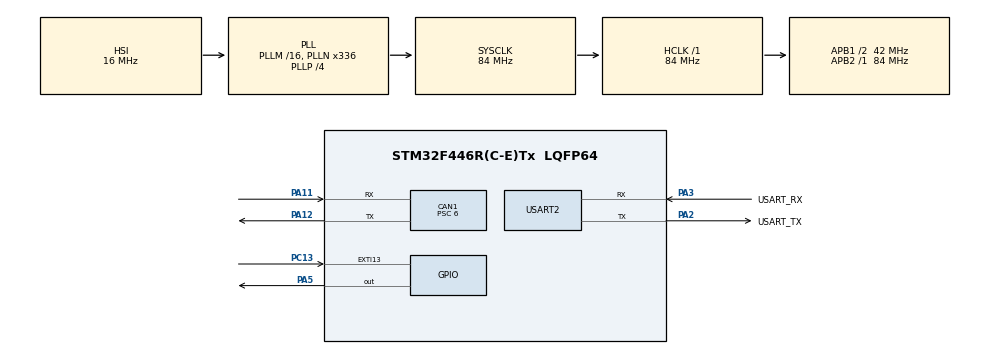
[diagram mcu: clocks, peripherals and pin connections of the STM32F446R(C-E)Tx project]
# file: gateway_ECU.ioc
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CAN1.BS1=CAN_BS1_11TQ
CAN1.BS2=CAN_BS2_2TQ
CAN1.CalculateBaudRate=500000
CAN1.CalculateTimeBit=2000
CAN1.CalculateTimeQuantum=142.85714285714286
CAN1.Mode=CAN_MODE_NORMAL
CAN1.NART=ENABLE
CAN1.Prescaler=6
FREERTOS.Queues01=canRxQueue,16,CanRxMessage_t,0,Dynamic,NULL,NULL
FREERTOS.Tasks01=defaultTask,24,256,StartDefaultTask,Default,NULL,Dynamic,NULL,NULL
Mcu.Family=STM32F4
Mcu.Name=STM32F446R(C-E)Tx
Mcu.Package=LQFP64
NUCLEO-F446RE.BUTTON=1
NUCLEO-F446RE.LD1=true
NVIC.CAN1_RX0_IRQn=true\:5\:0\:false\:false\:true\:true\:true\:true\:true
NVIC.EXTI15_10_IRQn=true\:5\:0\:false\:false\:true\:true\:false\:true\:true
NVIC.PriorityGroup=NVIC_PRIORITYGROUP_4
NVIC.TIM6_DAC_IRQn=true\:15\:0\:false\:false\:true\:false\:false\:true\:true
NVIC.TimeBase=TIM6_DAC_IRQn
NVIC.TimeBaseIP=TIM6
PA11.Mode=CAN_Activate
PA11.Signal=CAN1_RX
PA12.Mode=CAN_Activate
PA12.Signal=CAN1_TX
PA13.GPIO_Label=TMS
PA13.Signal=SYS_JTMS-SWDIO
PA14.GPIO_Label=TCK
PA14.Signal=SYS_JTCK-SWCLK
PA2.GPIO_Label=USART_TX
PA2.Mode=Asynchronous
PA2.Signal=USART2_TX
PA3.GPIO_Label=USART_RX
PA3.Mode=Asynchronous
PA3.Signal=USART2_RX
PA5.Signal=GPIO_Output
PB3.GPIO_Label=SWO
PB3.Signal=SYS_JTDO-SWO
PC13.Signal=GPXTI13
PC14-OSC32_IN.Signal=RCC_OSC32_IN
PC15-OSC32_OUT.Signal=RCC_OSC32_OUT
PH0-OSC_IN.Signal=RCC_OSC_IN
PH1-OSC_OUT.Signal=RCC_OSC_OUT
ProjectManager.HeapSize=0x200
ProjectManager.StackSize=0x400
ProjectManager.TargetToolchain=STM32CubeIDE
RCC.AHBFreq_Value=84000000
RCC.APB1CLKDivider=RCC_HCLK_DIV2
RCC.APB1Freq_Value=42000000
RCC.APB1TimFreq_Value=84000000
RCC.APB2Freq_Value=84000000
RCC.APB2TimFreq_Value=84000000
RCC.CortexFreq_Value=84000000
RCC.FLatency-AdvancedSettings=FLASH_LATENCY_2
RCC.HCLKFreq_Value=84000000
RCC.HSE_VALUE=8000000
RCC.HSI_VALUE=16000000
RCC.LSE_VALUE=32768
RCC.PLLN=336
RCC.PLLP=RCC_PLLP_DIV4
RCC.SYSCLKFreq_VALUE=84000000
RCC.SYSCLKSource=RCC_SYSCLKSOURCE_PLLCLK
RCC.USBFreq_Value=168000000
RCC.VCOOutputFreq_Value=336000000
USART2.VirtualMode=VM_ASYNC
VP_FREERTOS_VS_CMSIS_V2.Mode=CMSIS_V2
VP_NUCLEO-F446RE_VS_BSP_COMMON.Mode=COMMON
VP_SYS_VS_tim6.Mode=TIM6
board=NUCLEO-F446RE

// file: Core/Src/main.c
/* USER CODE BEGIN Header */
/**
  ******************************************************************************
  * @file           : main.c
  * @brief          : Main program body
  ******************************************************************************
  * @attention
  *
  * Copyright (c) 2026 STMicroelectronics.
  * All rights reserved.
  *
  * This software is licensed under terms that can be found in the LICENSE file
  * in the root directory of this software component.
  * If no LICENSE file comes with this software, it is provided AS-IS.
  *
  ******************************************************************************
  */
/* USER CODE END Header */
#include "main.h"
#include "cmsis_os.h"

/* USER CODE BEGIN Includes */
#include <stdio.h>

/* USER CODE END Includes */

CAN_HandleTypeDef hcan1;

UART_HandleTypeDef huart2;

/* Definitions for defaultTask */
osThreadId_t defaultTaskHandle;
const osThreadAttr_t defaultTask_attributes = {
  .name = "defaultTask",
  .stack_size = 256 * 4,
  .priority = (osPriority_t) osPriorityNormal,
};
/* Definitions for canRxQueue */
osMessageQueueId_t canRxQueueHandle;
const osMessageQueueAttr_t canRxQueue_attributes = {
  .name = "canRxQueue"
};
/* USER CODE BEGIN PV */
static uint8_t gatewayAliveCounter;

/* USER CODE END PV */

void SystemClock_Config(void);
static void MX_GPIO_Init(void);
static void MX_USART2_UART_Init(void);
static void MX_CAN1_Init(void);
void StartDefaultTask(void *argument);

/* USER CODE BEGIN PFP */
static void ProcessCanMessage(const CanRxMessage_t *message);
static void CanMonitorInit(void);
static void MonitorCanMessage(const CanRxMessage_t *message);
static void CheckCanTimeouts(void);
static HAL_StatusTypeDef CanTransmitStandardFrame(uint16_t id,
                                                  uint8_t *data,
                                                  uint8_t dlc);
static void TransmitGatewayStatus(void);
static void TransmitFaultStatus(uint8_t faultCode,
                                uint8_t ecuOffline,
                                uint8_t recoveryState,
                                uint8_t systemState);

/* USER CODE END PFP */

int main(void)
{

  /* MCU Configuration--------------------------------------------------------*/

  /* Reset of all peripherals, Initializes the Flash interface and the Systick. */
  HAL_Init();

  /* Configure the system clock */
  SystemClock_Config();

  /* Initialize all configured peripherals */
  MX_GPIO_Init();
  MX_USART2_UART_Init();
  MX_CAN1_Init();
  /* USER CODE BEGIN 2 */
  CAN_FilterTypeDef canFilter = {0};

  canFilter.FilterBank = 0;
  canFilter.FilterMode = CAN_FILTERMODE_IDMASK;
  canFilter.FilterScale = CAN_FILTERSCALE_32BIT;
  canFilter.FilterIdHigh = 0x0000;
  canFilter.FilterIdLow = 0x0000;
  canFilter.FilterMaskIdHigh = 0x0000;
  canFilter.FilterMaskIdLow = 0x0000;
  canFilter.FilterFIFOAssignment = CAN_RX_FIFO0;
  canFilter.FilterActivation = ENABLE;
  canFilter.SlaveStartFilterBank = 14;

  if (HAL_CAN_ConfigFilter(&hcan1, &canFilter) != HAL_OK)
  {
    Error_Handler();
  }

  /* USER CODE END 2 */

  /* Init scheduler */
  osKernelInitialize();

  /* Create the queue(s) */
  /* creation of canRxQueue */
  canRxQueueHandle = osMessageQueueNew (16, sizeof(CanRxMessage_t), &canRxQueue_attributes);

  /* USER CODE BEGIN RTOS_QUEUES */
  if (canRxQueueHandle == NULL)
  {
    Error_Handler();
  }

  if (HAL_CAN_Start(&hcan1) != HAL_OK)
  {
    Error_Handler();
  }

  if (HAL_CAN_ActivateNotification(
          &hcan1,
          CAN_IT_RX_FIFO0_MSG_PENDING) != HAL_OK)
  {
    Error_Handler();
  }

  /* USER CODE END RTOS_QUEUES */

  /* Create the thread(s) */
  /* creation of defaultTask */
  defaultTaskHandle = osThreadNew(StartDefaultTask, NULL, &defaultTask_attributes);

  /* Initialize leds */
  BSP_LED_Init(LED2);

  /* Initialize USER push-button, will be used to trigger an interrupt each time it's pressed.*/
  BSP_PB_Init(BUTTON_USER, BUTTON_MODE_EXTI);

  /* Start scheduler */
  osKernelStart();

  /* We should never get here as control is now taken by the scheduler */

  /* Infinite loop */
  while (1)
  {

  }
}

void SystemClock_Config(void)
{
  RCC_OscInitTypeDef RCC_OscInitStruct = {0};
  RCC_ClkInitTypeDef RCC_ClkInitStruct = {0};

  /** Configure the main internal regulator output voltage
  */
  __HAL_RCC_PWR_CLK_ENABLE();
  __HAL_PWR_VOLTAGESCALING_CONFIG(PWR_REGULATOR_VOLTAGE_SCALE3);

  /** Initializes the RCC Oscillators according to the specified parameters
  * in the RCC_OscInitTypeDef structure.
  */
  RCC_OscInitStruct.OscillatorType = RCC_OSCILLATORTYPE_HSI;
  RCC_OscInitStruct.HSIState = RCC_HSI_ON;
  RCC_OscInitStruct.HSICalibrationValue = RCC_HSICALIBRATION_DEFAULT;
  RCC_OscInitStruct.PLL.PLLState = RCC_PLL_ON;
  RCC_OscInitStruct.PLL.PLLSource = RCC_PLLSOURCE_HSI;
  RCC_OscInitStruct.PLL.PLLM = 16;
  RCC_OscInitStruct.PLL.PLLN = 336;
  RCC_OscInitStruct.PLL.PLLP = RCC_PLLP_DIV4;
  RCC_OscInitStruct.PLL.PLLQ = 2;
  RCC_OscInitStruct.PLL.PLLR = 2;
  if (HAL_RCC_OscConfig(&RCC_OscInitStruct) != HAL_OK)
  {
    Error_Handler();
  }

  /** Initializes the CPU, AHB and APB buses clocks
  */
  RCC_ClkInitStruct.ClockType = RCC_CLOCKTYPE_HCLK|RCC_CLOCKTYPE_SYSCLK
                              |RCC_CLOCKTYPE_PCLK1|RCC_CLOCKTYPE_PCLK2;
  RCC_ClkInitStruct.SYSCLKSource = RCC_SYSCLKSOURCE_PLLCLK;
  RCC_ClkInitStruct.AHBCLKDivider = RCC_SYSCLK_DIV1;
  RCC_ClkInitStruct.APB1CLKDivider = RCC_HCLK_DIV2;
  RCC_ClkInitStruct.APB2CLKDivider = RCC_HCLK_DIV1;

  if (HAL_RCC_ClockConfig(&RCC_ClkInitStruct, FLASH_LATENCY_2) != HAL_OK)
  {
    Error_Handler();
  }
}

static void MX_CAN1_Init(void)
{

  hcan1.Instance = CAN1;
  hcan1.Init.Prescaler = 6;
  hcan1.Init.Mode = CAN_MODE_NORMAL;
  hcan1.Init.SyncJumpWidth = CAN_SJW_1TQ;
  hcan1.Init.TimeSeg1 = CAN_BS1_11TQ;
  hcan1.Init.TimeSeg2 = CAN_BS2_2TQ;
  hcan1.Init.TimeTriggeredMode = DISABLE;
  hcan1.Init.AutoBusOff = DISABLE;
  hcan1.Init.AutoWakeUp = DISABLE;
  hcan1.Init.AutoRetransmission = ENABLE;
  hcan1.Init.ReceiveFifoLocked = DISABLE;
  hcan1.Init.TransmitFifoPriority = DISABLE;
  if (HAL_CAN_Init(&hcan1) != HAL_OK)
  {
    Error_Handler();
  }

}

static void MX_USART2_UART_Init(void)
{

  huart2.Instance = USART2;
  huart2.Init.BaudRate = 115200;
  huart2.Init.WordLength = UART_WORDLENGTH_8B;
  huart2.Init.StopBits = UART_STOPBITS_1;
  huart2.Init.Parity = UART_PARITY_NONE;
  huart2.Init.Mode = UART_MODE_TX_RX;
  huart2.Init.HwFlowCtl = UART_HWCONTROL_NONE;
  huart2.Init.OverSampling = UART_OVERSAMPLING_16;
  if (HAL_UART_Init(&huart2) != HAL_OK)
  {
    Error_Handler();
  }

}

static void MX_GPIO_Init(void)
{

  /* GPIO Ports Clock Enable */
  __HAL_RCC_GPIOC_CLK_ENABLE();
  __HAL_RCC_GPIOH_CLK_ENABLE();
  __HAL_RCC_GPIOA_CLK_ENABLE();
  __HAL_RCC_GPIOB_CLK_ENABLE();

}

/* USER CODE BEGIN 4 */
static uint16_t ReadLe16(const uint8_t *data, uint8_t offset)
{
  return (uint16_t)data[offset]
       | ((uint16_t)data[offset + 1U] << 8U);
}

static void SendUartText(char *text, uint16_t textSize, int textLength)
{
  if ((text == NULL) || (textSize == 0U) || (textLength <= 0))
  {
    return;
  }

  if (textLength >= (int)textSize)
  {
    textLength = (int)textSize - 1;
  }

  HAL_UART_Transmit(&huart2,
                    (uint8_t *)text,
                    (uint16_t)textLength,
                    100U);
}

static HAL_StatusTypeDef CanTransmitStandardFrame(uint16_t id,
                                                  uint8_t *data,
                                                  uint8_t dlc)
{
  CAN_TxHeaderTypeDef txHeader = {0};
  uint32_t txMailbox;

  if ((data == NULL) || (id > 0x7FFU) || (dlc > DBC_CAN_FRAME_DLC))
  {
    return HAL_ERROR;
  }

  txHeader.StdId = id;
  txHeader.ExtId = 0U;
  txHeader.IDE = CAN_ID_STD;
  txHeader.RTR = CAN_RTR_DATA;
  txHeader.DLC = dlc;
  txHeader.TransmitGlobalTime = DISABLE;

  return HAL_CAN_AddTxMessage(&hcan1, &txHeader, data, &txMailbox);
}

static uint8_t GetCanQueueUsagePercent(void)
{
  uint32_t queueCapacity;
  uint32_t queueCount;

  if (canRxQueueHandle == NULL)
  {
    return 0U;
  }

  queueCapacity = osMessageQueueGetCapacity(canRxQueueHandle);
  queueCount = osMessageQueueGetCount(canRxQueueHandle);

  if (queueCapacity == 0U)
  {
    return 0U;
  }

  if (queueCount >= queueCapacity)
  {
    return 100U;
  }

  return (uint8_t)((queueCount * 100U) / queueCapacity);
}

static void TransmitGatewayStatus(void)
{
  uint8_t txData[DBC_CAN_FRAME_DLC] = {0};

  txData[0] = (uint8_t)(gatewayAliveCounter & 0x0FU);
  txData[1] = GetCanQueueUsagePercent();

  if (CanTransmitStandardFrame(DBC_CAN_ID_GATEWAY_STATUS,
                               txData,
                               DBC_CAN_FRAME_DLC) == HAL_OK)
  {
    gatewayAliveCounter = (uint8_t)((gatewayAliveCounter + 1U) & 0x0FU);
  }
}

static void TransmitFaultStatus(uint8_t faultCode,
                                uint8_t ecuOffline,
                                uint8_t recoveryState,
                                uint8_t systemState)
{
  uint8_t txData[DBC_CAN_FRAME_DLC] = {0};

  txData[0] = faultCode;
  txData[1] = (uint8_t)((ecuOffline & 0x0FU)
                      | ((recoveryState & 0x01U) << 4U)
                      | ((systemState & 0x03U) << 5U));

  (void)CanTransmitStandardFrame(DBC_CAN_ID_FAULT_STATUS,
                                 txData,
                                 DBC_CAN_FRAME_DLC);
}

typedef struct
{
  uint8_t have_frame;
  uint8_t last_alive;
  uint8_t alive_error;
  uint8_t timeout_reported;
  uint8_t timeout_fault_code;
  uint8_t ecu_offline;
  uint32_t last_rx_tick;
} CanMonitorState_t;

static CanMonitorState_t vcuMonitorState;
static CanMonitorState_t motorMonitorState;
static uint32_t canMonitorStartTick;

static void CanMonitorInit(void)
{
  vcuMonitorState.have_frame = 0U;
  vcuMonitorState.last_alive = 0U;
  vcuMonitorState.alive_error = 0U;
  vcuMonitorState.timeout_reported = 0U;
  vcuMonitorState.timeout_fault_code = DBC_FAULT_CODE_VCU_TIMEOUT;
  vcuMonitorState.ecu_offline = DBC_FAULT_ECU_VCU;
  vcuMonitorState.last_rx_tick = 0U;

  motorMonitorState.have_frame = 0U;
  motorMonitorState.last_alive = 0U;
  motorMonitorState.alive_error = 0U;
  motorMonitorState.timeout_reported = 0U;
  motorMonitorState.timeout_fault_code = DBC_FAULT_CODE_ECU_OFFLINE;
  motorMonitorState.ecu_offline = DBC_FAULT_ECU_MOTOR;
  motorMonitorState.last_rx_tick = 0U;

  canMonitorStartTick = HAL_GetTick();
}

static void MonitorAliveCounter(const char *sourceName,
                                CanMonitorState_t *state,
                                uint8_t aliveCounter,
                                uint32_t now)
{
  char text[112];
  int textLength;

  if (!state->have_frame)
  {
    state->have_frame = 1U;
    state->last_alive = aliveCounter;
    state->last_rx_tick = now;
    state->alive_error = 0U;

    textLength = snprintf(text,
                          sizeof(text),
                          "CAN_MONITOR %s ONLINE Alive=%u\r\n",
                          sourceName,
                          (unsigned int)aliveCounter);
    SendUartText(text, (uint16_t)sizeof(text), textLength);

    if (state->timeout_reported != 0U)
    {
      TransmitFaultStatus(state->timeout_fault_code,
                          state->ecu_offline,
                          DBC_FAULT_RECOVERY_CLEARED,
                          DBC_SYSTEM_STATE_DEGRADED);

      textLength = snprintf(text,
                            sizeof(text),
                            "CAN_MONITOR %s TIMEOUT_RECOVERED Alive=%u\r\n",
                            sourceName,
                            (unsigned int)aliveCounter);
      SendUartText(text, (uint16_t)sizeof(text), textLength);
      state->timeout_reported = 0U;
    }

    return;
  }

  {
    uint8_t expectedAlive = (uint8_t)((state->last_alive + 1U) & 0x0FU);

    if (aliveCounter != expectedAlive)
    {
      if (state->alive_error == 0U)
      {
        TransmitFaultStatus(DBC_FAULT_CODE_ALIVE_ERROR,
                            state->ecu_offline,
                            DBC_FAULT_RECOVERY_ACTIVE,
                            DBC_SYSTEM_STATE_DEGRADED);

        textLength = snprintf(
            text,
            sizeof(text),
            "CAN_MONITOR %s ALIVE_ERROR Expected=%u Actual=%u\r\n",
            sourceName,
            (unsigned int)expectedAlive,
            (unsigned int)aliveCounter);
        SendUartText(text, (uint16_t)sizeof(text), textLength);
      }

      state->alive_error = 1U;
    }
    else if (state->alive_error != 0U)
    {
      TransmitFaultStatus(DBC_FAULT_CODE_ALIVE_ERROR,
                          state->ecu_offline,
                          DBC_FAULT_RECOVERY_CLEARED,
                          DBC_SYSTEM_STATE_DEGRADED);

      textLength = snprintf(text,
                            sizeof(text),
                            "CAN_MONITOR %s ALIVE_RECOVERED Alive=%u\r\n",
                            sourceName,
                            (unsigned int)aliveCounter);
      SendUartText(text, (uint16_t)sizeof(text), textLength);
      state->alive_error = 0U;
    }
  }

  state->last_alive = aliveCounter;
  state->last_rx_tick = now;

  if (state->timeout_reported != 0U)
  {
    TransmitFaultStatus(state->timeout_fault_code,
                        state->ecu_offline,
                        DBC_FAULT_RECOVERY_CLEARED,
                        DBC_SYSTEM_STATE_DEGRADED);

    textLength = snprintf(text,
                          sizeof(text),
                          "CAN_MONITOR %s TIMEOUT_RECOVERED Alive=%u\r\n",
                          sourceName,
                          (unsigned int)aliveCounter);
    SendUartText(text, (uint16_t)sizeof(text), textLength);
    state->timeout_reported = 0U;
  }
}

static void MonitorCanMessage(const CanRxMessage_t *message)
{
  uint32_t now;

  if ((message == NULL) || (message->dlc != DBC_CAN_FRAME_DLC))
  {
    return;
  }

  now = HAL_GetTick();

  switch (message->id)
  {
    case DBC_CAN_ID_VCU_COMMAND:
      MonitorAliveCounter("VCU",
                          &vcuMonitorState,
                          (uint8_t)((message->data[2] >> 4U) & 0x0FU),
                          now);
      break;

    case DBC_CAN_ID_MOTOR_STATUS:
      MonitorAliveCounter("MOTOR",
                          &motorMonitorState,
                          (uint8_t)((message->data[4] >> 2U) & 0x0FU),
                          now);
      break;

    default:
      break;
  }
}

static void CheckCanSourceTimeout(const char *sourceName,
                                  CanMonitorState_t *state,
                                  uint32_t now)
{
  uint32_t referenceTick = state->have_frame
                         ? state->last_rx_tick
                         : canMonitorStartTick;

  if ((uint32_t)(now - referenceTick) >= DBC_CAN_MONITOR_TIMEOUT_MS)
  {
    if (state->timeout_reported == 0U)
    {
      TransmitFaultStatus(state->timeout_fault_code,
                          state->ecu_offline,
                          DBC_FAULT_RECOVERY_ACTIVE,
                          DBC_SYSTEM_STATE_DEGRADED);

      char text[80];
      int textLength = snprintf(text,
                                sizeof(text),
                                "CAN_MONITOR %s TIMEOUT\r\n",
                                sourceName);
      SendUartText(text, (uint16_t)sizeof(text), textLength);
      state->timeout_reported = 1U;
    }
  }
}

static void CheckCanTimeouts(void)
{
  uint32_t now = HAL_GetTick();

  CheckCanSourceTimeout("VCU", &vcuMonitorState, now);
  CheckCanSourceTimeout("MOTOR", &motorMonitorState, now);
}

static void PrintInvalidDlc(const char *messageName, uint8_t dlc)
{
  char text[80];
  int textLength = snprintf(text,
                            sizeof(text),
                            "%s INVALID DLC=%u EXPECTED=8\r\n",
                            messageName,
                            (unsigned int)dlc);

  SendUartText(text, (uint16_t)sizeof(text), textLength);
}

static const char *DbcGearName(uint8_t gear)
{
  switch (gear)
  {
    case 0U:
      return "P";
    case 1U:
      return "N";
    case 2U:
      return "D";
    case 3U:
      return "R";
    default:
      return "INVALID";
  }
}

static const char *DbcMotorStateName(uint8_t state)
{
  switch (state)
  {
    case 0U:
      return "OFF";
    case 1U:
      return "READY";
    case 2U:
      return "RUN";
    case 3U:
      return "FAIL_SAFE";
    default:
      return "INVALID";
  }
}

static const char *DbcNetworkStateName(uint8_t state)
{
  switch (state)
  {
    case 0U:
      return "NORMAL";
    case 1U:
      return "DEGRADED";
    case 2U:
      return "OFFLINE";
    case 3U:
      return "FAIL_SAFE";
    default:
      return "INVALID";
  }
}

static const char *DbcDoorStatusName(uint8_t state)
{
  switch (state)
  {
    case 0U:
      return "CLOSED_UNLOCKED";
    case 1U:
      return "CLOSED_LOCKED";
    case 2U:
      return "OPEN_UNLOCKED";
    case 3U:
      return "OPEN_LOCKED";
    default:
      return "INVALID";
  }
}

static const char *DbcWindowStatusName(uint8_t state)
{
  switch (state)
  {
    case 0U:
      return "STOPPED";
    case 1U:
      return "MOVING_UP";
    case 2U:
      return "MOVING_DOWN";
    case 3U:
      return "UPPER_LIMIT";
    case 4U:
      return "LOWER_LIMIT";
    case 5U:
      return "FAULT";
    case 6U:
      return "RESERVED";
    default:
      return "INVALID";
  }
}

static const char *DbcFaultCodeName(uint8_t faultCode)
{
  switch (faultCode)
  {
    case 0U:
      return "NONE";
    case 1U:
      return "VCU_TIMEOUT";
    case 2U:
      return "DOOR_ECU_OFFLINE";
    case 3U:
      return "ALIVE_ERROR";
    case 4U:
      return "ECU_OFFLINE";
    case 5U:
      return "QUEUE_DROP";
    case 6U:
      return "WINDOW_ECU_OFFLINE";
    default:
      return "INVALID_OR_RESERVED";
  }
}

static const char *DbcEcuName(uint8_t ecu)
{
  switch (ecu)
  {
    case 0U:
      return "NONE";
    case 1U:
      return "VCU";
    case 2U:
      return "MOTOR";
    case 3U:
      return "GATEWAY";
    case 4U:
      return "CLUSTER";
    case 5U:
      return "DOOR";
    case 6U:
      return "LIGHT";
    case 7U:
      return "WINDOW";
    default:
      return "INVALID_OR_RESERVED";
  }
}

static const char *DbcRecoveryStateName(uint8_t state)
{
  return (state == 0U) ? "ACTIVE" : "CLEARED";
}

static void DecodeVcuCommand(const CanRxMessage_t *message)
{
  VcuCommand_t command = {0};
  char text[128];
  int textLength;

  if (message->dlc != DBC_VCU_COMMAND_DLC)
  {
    PrintInvalidDlc("VCU_CMD", message->dlc);
    return;
  }

  command.torque_request_raw = ReadLe16(message->data, 0U);
  command.gear = message->data[2] & 0x07U;
  command.brake = (message->data[2] >> 3U) & 0x01U;
  command.alive_counter = (message->data[2] >> 4U) & 0x0FU;

  if ((command.torque_request_raw == 0xFFFFU)
      || (command.torque_request_raw > 40000U)
      || (command.gear > 3U))
  {
    textLength = snprintf(text,
                          sizeof(text),
                          "VCU_CMD INVALID TorqueRaw=%u GearRaw=%u\r\n",
                          (unsigned int)command.torque_request_raw,
                          (unsigned int)command.gear);
  }
  else
  {
    textLength = snprintf(
        text,
        sizeof(text),
        "VCU_CMD Torque=%u.%uNm Gear=%s Brake=%s Alive=%u\r\n",
        (unsigned int)(command.torque_request_raw / 10U),
        (unsigned int)(command.torque_request_raw % 10U),
        DbcGearName(command.gear),
        (command.brake != 0U) ? "ON" : "OFF",
        (unsigned int)command.alive_counter);
  }

  SendUartText(text, (uint16_t)sizeof(text), textLength);
}

static void DecodeMotorStatus(const CanRxMessage_t *message)
{
  MotorStatus_t status = {0};
  char text[128];
  int textLength;

  if (message->dlc != DBC_CAN_FRAME_DLC)
  {
    PrintInvalidDlc("MOTOR_STATUS", message->dlc);
    return;
  }

  status.rpm = ReadLe16(message->data, 0U);
  status.torque_applied_raw = ReadLe16(message->data, 2U);
  status.motor_state = message->data[4] & 0x03U;
  status.alive_counter = (message->data[4] >> 2U) & 0x0FU;

  if ((status.rpm == 0xFFFFU)
      || (status.rpm > 12000U)
      || (status.torque_applied_raw == 0xFFFFU)
      || (status.torque_applied_raw > 40000U))
  {
    textLength = snprintf(
        text,
        sizeof(text),
        "MOTOR_STATUS INVALID RPM_RAW=%u TorqueRaw=%u\r\n",
        (unsigned int)status.rpm,
        (unsigned int)status.torque_applied_raw);
  }
  else
  {
    textLength = snprintf(
        text,
        sizeof(text),
        "MOTOR_STATUS RPM=%u Torque=%u.%uNm State=%s Alive=%u\r\n",
        (unsigned int)status.rpm,
        (unsigned int)(status.torque_applied_raw / 10U),
        (unsigned int)(status.torque_applied_raw % 10U),
        DbcMotorStateName(status.motor_state),
        (unsigned int)status.alive_counter);
  }

  SendUartText(text, (uint16_t)sizeof(text), textLength);
}

static void DecodeVehicleStatus(const CanRxMessage_t *message)
{
  VehicleStatus_t status = {0};
  char text[144];
  int textLength;

  if (message->dlc != DBC_CAN_FRAME_DLC)
  {
    PrintInvalidDlc("VEHICLE_STATUS", message->dlc);
    return;
  }

  status.speed_raw = ReadLe16(message->data, 0U);
  status.rpm = ReadLe16(message->data, 2U);
  status.gear = message->data[4] & 0x07U;
  status.brake = (message->data[4] >> 3U) & 0x01U;
  status.network_state = (message->data[4] >> 4U) & 0x03U;

  if ((status.speed_raw == 0xFFFFU)
      || (status.speed_raw > 2500U)
      || (status.rpm == 0xFFFFU)
      || (status.rpm > 12000U)
      || (status.gear > 3U))
  {
    textLength = snprintf(
        text,
        sizeof(text),
        "VEHICLE_STATUS INVALID SpeedRaw=%u RPMRaw=%u GearRaw=%u\r\n",
        (unsigned int)status.speed_raw,
        (unsigned int)status.rpm,
        (unsigned int)status.gear);
  }
  else
  {
    textLength = snprintf(
        text,
        sizeof(text),
        "VEHICLE_STATUS Speed=%u.%ukm/h RPM=%u Gear=%s Brake=%s Network=%s\r\n",
        (unsigned int)(status.speed_raw / 10U),
        (unsigned int)(status.speed_raw % 10U),
        (unsigned int)status.rpm,
        DbcGearName(status.gear),
        (status.brake != 0U) ? "ON" : "OFF",
        DbcNetworkStateName(status.network_state));
  }

  SendUartText(text, (uint16_t)sizeof(text), textLength);
}

static void DecodeBodyStatus(const CanRxMessage_t *message)
{
  BodyStatus_t status = {0};
  char text[160];
  int textLength;

  if (message->dlc != DBC_CAN_FRAME_DLC)
  {
    PrintInvalidDlc("BODY_STATUS", message->dlc);
    return;
  }

  status.reverse_lamp = message->data[0] & 0x01U;
  status.door_open = (message->data[0] >> 1U) & 0x01U;
  status.door_status = message->data[1];
  status.light_status = message->data[2];
  status.window_status = message->data[3];

  if ((status.door_status > 3U)
      || (status.light_status > 63U)
      || (status.window_status > 5U))
  {
    textLength = snprintf(
        text,
        sizeof(text),
        "BODY_STATUS INVALID Door=%u Light=0x%02X Window=%u\r\n",
        (unsigned int)status.door_status,
        status.light_status,
        (unsigned int)status.window_status);
  }
  else
  {
    textLength = snprintf(
        text,
        sizeof(text),
        "BODY_STATUS ReverseLamp=%s DoorOpen=%s Door=%s Light=0x%02X Window=%s\r\n",
        (status.reverse_lamp != 0U) ? "ON" : "OFF",
        (status.door_open != 0U) ? "YES" : "NO",
        DbcDoorStatusName(status.door_status),
        status.light_status,
        DbcWindowStatusName(status.window_status));
  }

  SendUartText(text, (uint16_t)sizeof(text), textLength);
}

static void DecodeGatewayStatus(const CanRxMessage_t *message)
{
  GatewayStatus_t status = {0};
  char text[96];
  int textLength;

  if (message->dlc != DBC_CAN_FRAME_DLC)
  {
    PrintInvalidDlc("GATEWAY_STATUS", message->dlc);
    return;
  }

  status.gateway_alive = message->data[0] & 0x0FU;
  status.queue_usage = message->data[1];

  if (status.queue_usage > 100U)
  {
    textLength = snprintf(text,
                          sizeof(text),
                          "GATEWAY_STATUS INVALID QueueUsage=%u\r\n",
                          (unsigned int)status.queue_usage);
  }
  else
  {
    textLength = snprintf(text,
                          sizeof(text),
                          "GATEWAY_STATUS Alive=%u QueueUsage=%u%%\r\n",
                          (unsigned int)status.gateway_alive,
                          (unsigned int)status.queue_usage);
  }

  SendUartText(text, (uint16_t)sizeof(text), textLength);
}

static void DecodeFaultStatus(const CanRxMessage_t *message)
{
  FaultStatus_t status = {0};
  char text[144];
  int textLength;

  if (message->dlc != DBC_CAN_FRAME_DLC)
  {
    PrintInvalidDlc("FAULT_STATUS", message->dlc);
    return;
  }

  status.fault_code = message->data[0];
  status.ecu_offline = message->data[1] & 0x0FU;
  status.recovery_state = (message->data[1] >> 4U) & 0x01U;
  status.system_state = (message->data[1] >> 5U) & 0x03U;

  if ((status.fault_code > 6U) || (status.ecu_offline > 7U))
  {
    textLength = snprintf(
        text,
        sizeof(text),
        "FAULT_STATUS INVALID FaultCode=%u ECU=%u\r\n",
        (unsigned int)status.fault_code,
        (unsigned int)status.ecu_offline);
  }
  else
  {
    textLength = snprintf(
        text,
        sizeof(text),
        "FAULT_STATUS Code=%s ECU=%s Recovery=%s System=%s\r\n",
        DbcFaultCodeName(status.fault_code),
        DbcEcuName(status.ecu_offline),
        DbcRecoveryStateName(status.recovery_state),
        DbcNetworkStateName(status.system_state));
  }

  SendUartText(text, (uint16_t)sizeof(text), textLength);
}

static void PrintRawCanMessage(const CanRxMessage_t *message)
{
  char text[96];
  int textLength = snprintf(
      text,
      sizeof(text),
      "CAN RX ID=0x%03lX DLC=%u DATA=%02X %02X %02X %02X %02X %02X %02X %02X\r\n",
      (unsigned long)message->id,
      (unsigned int)message->dlc,
      message->data[0],
      message->data[1],
      message->data[2],
      message->data[3],
      message->data[4],
      message->data[5],
      message->data[6],
      message->data[7]);

  SendUartText(text, (uint16_t)sizeof(text), textLength);
}

static void ProcessCanMessage(const CanRxMessage_t *message)
{
  if (message == NULL)
  {
    return;
  }

  MonitorCanMessage(message);

  switch (message->id)
  {
    case DBC_CAN_ID_VCU_COMMAND:
      DecodeVcuCommand(message);
      break;
    case DBC_CAN_ID_MOTOR_STATUS:
      DecodeMotorStatus(message);
      break;
    case DBC_CAN_ID_VEHICLE_STATUS:
      DecodeVehicleStatus(message);
      break;
    case DBC_CAN_ID_BODY_STATUS:
      DecodeBodyStatus(message);
      break;
    case DBC_CAN_ID_GATEWAY_STATUS:
      DecodeGatewayStatus(message);
      break;
    case DBC_CAN_ID_FAULT_STATUS:
      DecodeFaultStatus(message);
      break;
    default:
      PrintRawCanMessage(message);
      break;
  }
}

void HAL_CAN_RxFifo0MsgPendingCallback(CAN_HandleTypeDef *hcan)
{
  CAN_RxHeaderTypeDef rxHeader;
  uint8_t rxData[8];
  CanRxMessage_t rxMessage = {0};

  if (hcan->Instance != CAN1)
  {
    return;
  }

  if (HAL_CAN_GetRxMessage(hcan,
                           CAN_RX_FIFO0,
                           &rxHeader,
                           rxData) == HAL_OK)
  {
    if (rxHeader.IDE == CAN_ID_STD)
    {
      rxMessage.id = rxHeader.StdId;
    }
    else
    {
      rxMessage.id = rxHeader.ExtId;
    }

    rxMessage.dlc = (uint8_t)rxHeader.DLC;

    for (uint8_t i = 0U; i < 8U; i++)
    {
      rxMessage.data[i] = rxData[i];
    }

    if (canRxQueueHandle != NULL)
    {
      (void)osMessageQueuePut(canRxQueueHandle,
                              &rxMessage,
                              0U,
                              0U);
    }
  }
}

/* USER CODE END 4 */

void StartDefaultTask(void *argument)
{
  /* USER CODE BEGIN 5 */

  static const uint8_t boot_message[] =
      "Gateway ECU boot\r\n";

  CanRxMessage_t rxMessage = {0};
  uint32_t lastLedToggleTick;
  uint32_t lastGatewayStatusTxTick;

  (void)argument;

  CanMonitorInit();
  lastLedToggleTick = HAL_GetTick();
  lastGatewayStatusTxTick = lastLedToggleTick;

  HAL_UART_Transmit(&huart2,
                    (uint8_t *)boot_message,
                    sizeof(boot_message) - 1U,
                    100U);

  for (;;)
  {
    uint32_t now = HAL_GetTick();

    if ((uint32_t)(now - lastLedToggleTick) >= DBC_LED_TOGGLE_PERIOD_MS)
    {
      BSP_LED_Toggle(LED2);
      lastLedToggleTick = now;
    }

    while (osMessageQueueGet(canRxQueueHandle,
                             &rxMessage,
                             NULL,
                             0U) == osOK)
    {
      ProcessCanMessage(&rxMessage);
    }

    CheckCanTimeouts();

    if ((uint32_t)(now - lastGatewayStatusTxTick) >=
        DBC_CAN_GATEWAY_STATUS_PERIOD_MS)
    {
      TransmitGatewayStatus();
      lastGatewayStatusTxTick = now;
    }

    osDelay(DBC_CAN_MONITOR_SERVICE_PERIOD_MS);
  }

  /* USER CODE END 5 */
}

void HAL_TIM_PeriodElapsedCallback(TIM_HandleTypeDef *htim)
{
  if (htim->Instance == TIM6)
  {
    HAL_IncTick();
  }
}

void Error_Handler(void)
{
  __disable_irq();
  while (1)
  {
  }
}
